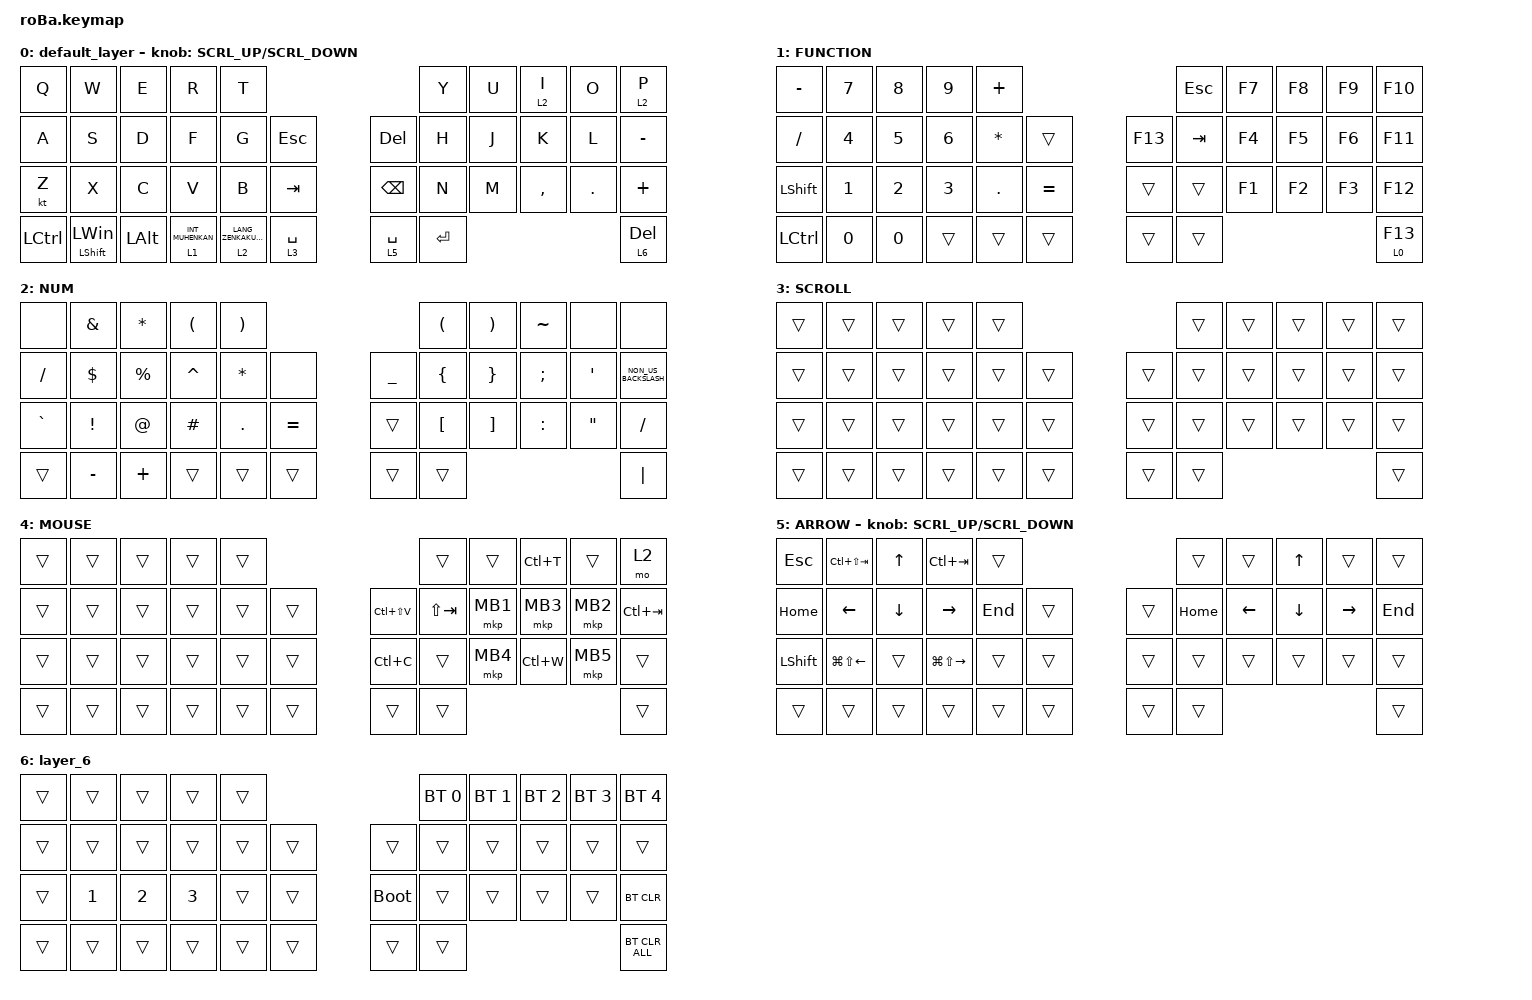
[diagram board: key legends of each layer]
#include <behaviors.dtsi>
#include <dt-bindings/zmk/bt.h>
#include <dt-bindings/zmk/keys.h>
#include <dt-bindings/zmk/pointing.h>

&mt {
    flavor = "balanced";
    quick-tap-ms = <0>;
};

&trackball {
    automouse-layer = <4>;
    scroll-layers = <5>;

    // arrows {
    //     layers = <3>;
    //     bindings =
    //         <&kp RIGHT_ARROW>,
    //         <&kp LEFT_ARROW>,
    //         <&kp UP_ARROW>,
    //         <&kp DOWN_ARROW>;
    //     tick = <10>;
    //     wait-ms = <5>;
    //     tap-ms = <5>;
    // };
};

/ {
    combos {
        compatible = "zmk,combos";

        tab {
            bindings = <&kp TAB>;
            key-positions = <11 12>;
        };

        shift_tab {
            bindings = <&kp LS(TAB)>;
            key-positions = <12 13>;
        };

        muhennkann {
            bindings = <&to_layer_0 INT_MUHENKAN>;
            key-positions = <11 10>;
        };

        double_quotation {
            bindings = <&kp DOUBLE_QUOTES>;
            key-positions = <20 21>;
        };

        eq {
            bindings = <&kp EQUAL>;
            key-positions = <24 25>;
        };
    };

    macros {
        to_layer_0: to_layer_0 {
            compatible = "zmk,behavior-macro-one-param";
            #binding-cells = <1>;
            bindings = <&to 0 &macro_param_1to1 &kp MACRO_PLACEHOLDER>;
            label = "TO_LAYER_0";
        };
    };

        behaviors {
        lt_to_layer_0: lt_to_layer_0 {
            compatible = "zmk,behavior-hold-tap";
            label = "LAYER_TAP_TO_0";
            bindings = <&mo>, <&to_layer_0>;

            #binding-cells = <2>;
            tapping-term-ms = <200>;
        };

        encoder_scroll: encoder_scroll {
            compatible = "zmk,behavior-sensor-rotate-var";
            label = "ENCODER_SCROLL";
            #sensor-binding-cells = <2>;
            bindings = <&msc>, <&msc>;
        };
    };
    keymap {
        compatible = "zmk,keymap";

        default_layer {
            bindings = <
&kp Q      &kp W                    &kp E         &kp R                          &kp T                                                                 &kp Y      &kp U  &lt 2 I    &kp O    &lt 2 P
&kp A      &kp S                    &kp D         &kp F                          &kp G                      &kp ESCAPE                  &kp DEL        &kp H      &kp J  &kp K      &kp L    &kp MINUS
&kt Z      &kp X                    &kp C         &kp V                          &kp B                      &kp TAB                     &kp BACKSPACE  &kp N      &kp M  &kp COMMA  &kp DOT  &kp PLUS
&kp LCTRL  &mt LEFT_SHIFT LEFT_WIN  &kp LEFT_ALT  &lt_to_layer_0 1 INT_MUHENKAN  &lt 2 LANG_ZENKAKUHANKAKU  &lt_to_layer_0 3 SPACE      &lt 5 SPACE    &kp ENTER                             &lt 6 DEL
            >;

            sensor-bindings = <&encoder_scroll SCRL_UP SCRL_DOWN>;
        };

        FUNCTION {
            bindings = <
&kp MINUS       &kp N7        &kp NUMBER_8  &kp NUMBER_9  &kp PLUS                              &kp ESCAPE  &kp F7  &kp F8  &kp F9  &kp F10
&kp SLASH       &kp NUMBER_4  &kp N5        &kp NUMBER_6  &kp ASTERISK  &trans         &kp F13  &kp TAB     &kp F4  &kp F5  &kp F6  &kp F11
&kp LEFT_SHIFT  &kp NUMBER_1  &kp NUMBER_2  &kp NUMBER_3  &kp PERIOD    &kp EQUAL      &trans   &trans      &kp F1  &kp F2  &kp F3  &kp F12
&kp LCTRL       &kp NUMBER_0  &kp NUMBER_0  &trans        &trans        &trans         &trans   &trans                              &lt_to_layer_0 0 F13
            >;
        };

        NUM {
            bindings = <
&none      &kp AMPERSAND    &kp ASTERISK  &kp LEFT_PARENTHESIS  &kp RIGHT_PARENTHESIS                                 &kp LEFT_PARENTHESIS  &kp RIGHT_PARENTHESIS  &kp TILDE      &none              &none
&kp SLASH  &kp DOLLAR       &kp PERCENT   &kp CARET             &kp ASTERISK           &none          &kp UNDERSCORE  &kp LEFT_BRACE        &kp RIGHT_BRACE        &kp SEMICOLON  &kp SQT            &kp NON_US_BACKSLASH
&kp GRAVE  &kp EXCLAMATION  &kp AT_SIGN   &kp HASH              &kp PERIOD             &kp EQUAL      &trans          &kp LEFT_BRACKET      &kp RIGHT_BRACKET      &kp COLON      &kp DOUBLE_QUOTES  &kp SLASH
&trans     &kp MINUS        &kp PLUS      &trans                &trans                 &trans         &trans          &trans                                                                         &kp PIPE
            >;
        };

        SCROLL {
            bindings = <
&trans  &trans  &trans  &trans  &trans                      &trans  &trans  &trans  &trans  &trans
&trans  &trans  &trans  &trans  &trans  &trans      &trans  &trans  &trans  &trans  &trans  &trans
&trans  &trans  &trans  &trans  &trans  &trans      &trans  &trans  &trans  &trans  &trans  &trans
&trans  &trans  &trans  &trans  &trans  &trans      &trans  &trans                          &trans
            >;
        };

        MOUSE {
            bindings = <
&trans  &trans  &trans  &trans  &trans                             &trans       &trans    &kp LC(T)  &trans    &mo 2
&trans  &trans  &trans  &trans  &trans  &trans      &kp LC(LS(V))  &kp LS(TAB)  &mkp MB1  &mkp MB3   &mkp MB2  &kp LC(TAB)
&trans  &trans  &trans  &trans  &trans  &trans      &kp LC(C)      &trans       &mkp MB4  &kp LC(W)  &mkp MB5  &trans
&trans  &trans  &trans  &trans  &trans  &trans      &trans         &trans                                      &trans
            >;
        };

        ARROW {
            bindings = <
&kp ESCAPE      &kp LC(LS(TAB))         &kp UP_ARROW    &kp LC(TAB)              &trans                       &trans    &trans    &kp UP    &trans     &trans
&kp HOME        &kp LEFT_ARROW          &kp DOWN_ARROW  &kp RIGHT_ARROW          &kp END  &trans      &trans  &kp HOME  &kp LEFT  &kp DOWN  &kp RIGHT  &kp END
&kp LEFT_SHIFT  &kp LG(LS(LEFT_ARROW))  &trans          &kp LG(LS(RIGHT_ARROW))  &trans   &trans      &trans  &trans    &trans    &trans    &trans     &trans
&trans          &trans                  &trans          &trans                   &trans   &trans      &trans  &trans                                   &trans
            >;

            sensor-bindings = <&encoder_scroll SCRL_UP SCRL_DOWN>;
        };

        layer_6 {
            bindings = <
&trans  &trans        &trans        &trans        &trans                           &bt BT_SEL 0  &bt BT_SEL 1  &bt BT_SEL 2  &bt BT_SEL 3  &bt BT_SEL 4
&trans  &trans        &trans        &trans        &trans  &trans      &trans       &trans        &trans        &trans        &trans        &trans
&trans  &kp NUMBER_1  &kp NUMBER_2  &kp NUMBER_3  &trans  &trans      &bootloader  &trans        &trans        &trans        &trans        &bt BT_CLR
&trans  &trans        &trans        &trans        &trans  &trans      &trans       &trans                                                  &bt BT_CLR_ALL
            >;
        };
    };
};
